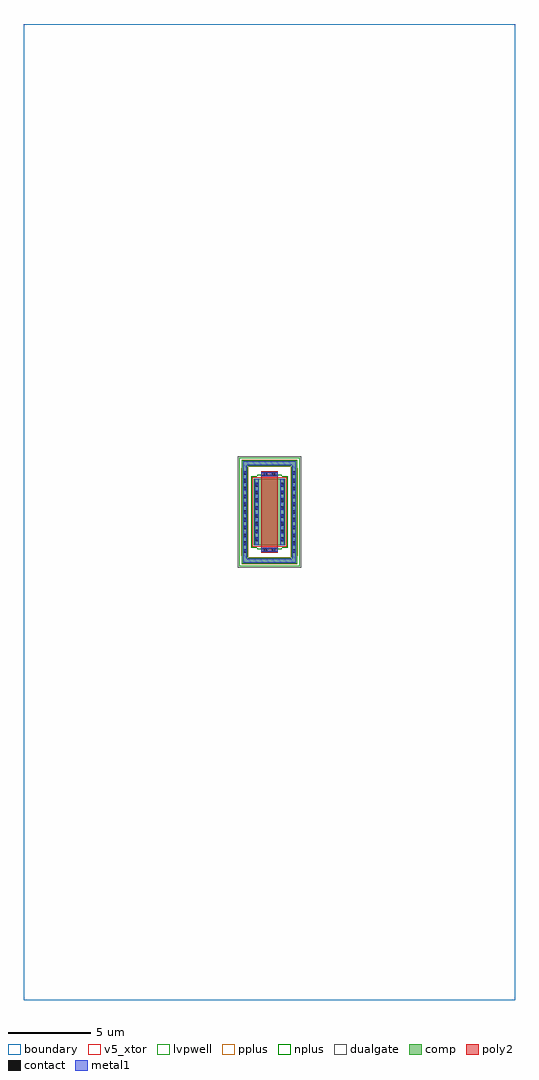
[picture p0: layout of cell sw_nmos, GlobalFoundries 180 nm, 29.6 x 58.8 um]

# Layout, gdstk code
import gdstk
lib = gdstk.Library(unit=1e-6, precision=1e-09)
def R(c, l, rs):  # rectangles x0, y0, x1, y1
    for r in rs: c.add(gdstk.rectangle(r[:2], r[2:], *l))
def A(c, l, x, y, w, h, nx, ny, dx, dy):  # array of equal rectangles
    R(c, l, [(x+i*dx, y+j*dy, x+i*dx+w, y+j*dy+h) for i in range(nx) for j in range(ny)])
boundary = (0, 0)
comp = (22, 0)
poly2 = (30, 0)
pplus = (31, 0)
nplus = (32, 0)
contact = (33, 0)
metal1 = (34, 0)
dualgate = (55, 0)
v5_xtor = (112, 1)
lvpwell = (204, 0)

sw_nmos = lib.new_cell('sw_nmos')
R(sw_nmos, boundary, [(-14.8,-29.4,14.8,29.4)])
R(sw_nmos, comp, [(-1.66,-3.12,1.66,-2.76), (-1.66,-2.76,-1.3,2.76), (1.3,-2.76,1.66,2.76), (-0.94,-2,0.94,2), (-1.66,2.76,1.66,3.12)])
R(sw_nmos, poly2, [(-0.5,-2.46,0.5,2.46)])
R(sw_nmos, pplus, [(-1.68,-3.14,1.68,-2.74), (-1.68,-2.74,-1.27,-2.635), (1.27,-2.74,1.68,-2.635), (-1.69,-2.635,-1.27,2.635), (1.27,-2.635,1.69,2.635), (-1.68,2.635,-1.27,2.74), (1.27,2.635,1.68,2.74), (-1.68,2.74,1.68,3.14)])
R(sw_nmos, nplus, [(-0.73,-2.23,0.73,-2.16), (-1.1,-2.16,1.1,2.16), (-0.73,2.16,0.73,2.23)])
A(sw_nmos, contact, -1.59, -2.46, 0.22, 0.22, 1, 11, 0, 0.47)
A(sw_nmos, contact, 1.37, -2.46, 0.22, 0.22, 1, 11, 0, 0.47)
A(sw_nmos, contact, -0.87, -1.755, 0.22, 0.22, 1, 8, 0, 0.47)
A(sw_nmos, contact, 0.65, -1.755, 0.22, 0.22, 1, 8, 0, 0.47)
R(sw_nmos, contact, [(-0.345,-2.39,-0.125,-2.17), (0.125,-2.39,0.345,-2.17), (-0.345,2.17,-0.125,2.39), (0.125,2.17,0.345,2.39)])
R(sw_nmos, metal1, [(-1.595,-3.055,1.595,-2.825), (-1.595,-2.825,-1.365,2.825), (1.365,-2.825,1.595,2.825), (-0.49,-2.395,0.49,-2.165), (-0.875,-1.99,-0.645,1.99), (0.645,-1.99,0.875,1.99), (-0.49,2.165,0.49,2.395), (-1.595,2.825,1.595,3.055)])
R(sw_nmos, dualgate, [(-1.9,-3.36,1.9,3.36)])
R(sw_nmos, v5_xtor, [(-1.04,-2.1,1.04,2.1)])
R(sw_nmos, lvpwell, [(-1.82,-3.28,1.82,3.28)])

lib.write_gds('sw_nmos.gds')
